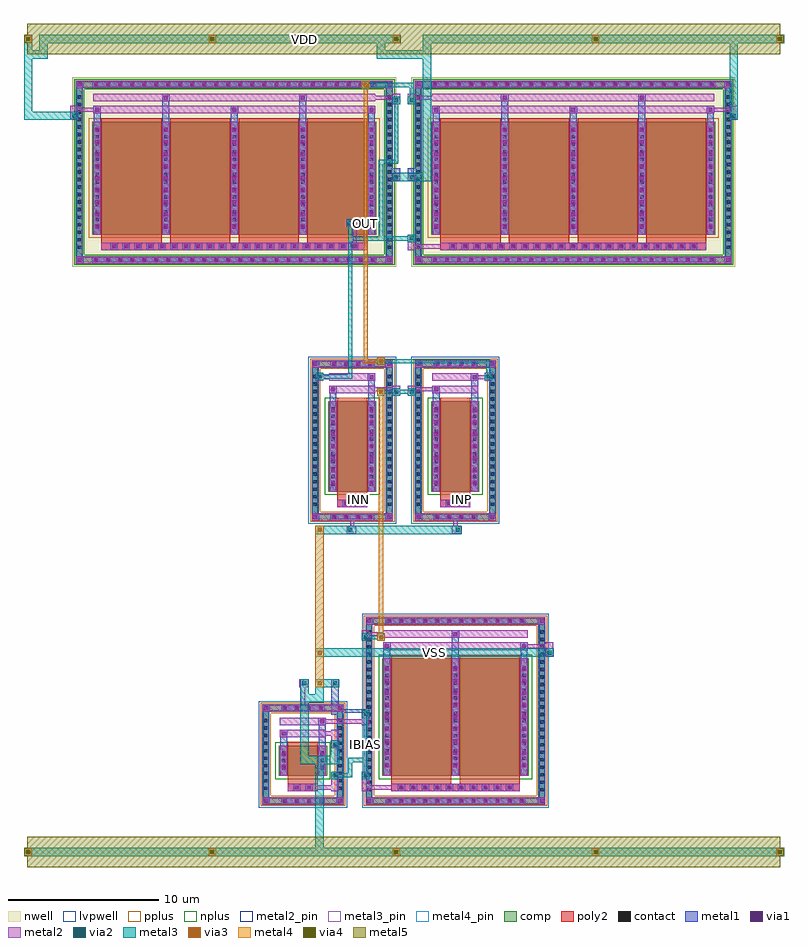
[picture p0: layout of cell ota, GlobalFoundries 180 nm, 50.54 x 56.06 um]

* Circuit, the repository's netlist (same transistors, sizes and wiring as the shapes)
* ox-alpha OTA -- 5T NMOS-input OTA, PMOS mirror load, IBIAS-driven tail
* topology: differential pair XM1/XM2, mirror load XM3/XM4,
* tail XMTAIL mirrored from external IBIAS via diode XMBIAS
.lib "{PDK_LIB}" typical
.subckt ota VDD VSS INP INN OUT IBIAS
XMBIAS IBIAS IBIAS VSS VSS nfet_03v3 W=2.0u L=2.0u nf=1
XMTAIL tail IBIAS VSS VSS nfet_03v3 W=15.6u L=4.0u nf=2
XM1 n1 INN tail VSS nfet_03v3 W=6.0u L=2.0u nf=1
XM2 OUT INP tail VSS nfet_03v3 W=6.0u L=2.0u nf=1
XM3 n1 n1 VDD VDD pfet_03v3 W=30.0u L=4.0u nf=4
XM4 OUT n1 VDD VDD pfet_03v3 W=30.0u L=4.0u nf=4
.ends

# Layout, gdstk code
import gdstk
lib = gdstk.Library(unit=1e-6, precision=1e-09)
def R(c, l, rs):  # rectangles x0, y0, x1, y1
    for r in rs: c.add(gdstk.rectangle(r[:2], r[2:], *l))
def A(c, l, x, y, w, h, nx, ny, dx, dy):  # array of equal rectangles
    R(c, l, [(x+i*dx, y+j*dy, x+i*dx+w, y+j*dy+h) for i in range(nx) for j in range(ny)])
def P(c, l, *ps):  # polygons
    for p in ps: c.add(gdstk.Polygon(p, *l))
nwell = (21, 0)
comp = (22, 0)
poly2 = (30, 0)
pplus = (31, 0)
nplus = (32, 0)
contact = (33, 0)
metal1 = (34, 0)
via1 = (35, 0)
metal2 = (36, 0)
metal2_pin = (36, 10)
via2 = (38, 0)
via3 = (40, 0)
via4 = (41, 0)
metal3 = (42, 0)
metal3_pin = (42, 10)
metal4 = (46, 0)
metal4_pin = (46, 10)
metal5 = (81, 0)
lvpwell = (204, 0)

ota = lib.new_cell('ota')
R(ota, nwell, [(-22.04,35.98,-0.5,48.57), (0.5,35.98,22.04,48.57)])
A(ota, comp, -8.09, 0.28, 0.36, 0.36, 4, 2, 0.8, 6.17)
A(ota, comp, -1.15, 0.28, 0.36, 0.36, 12, 2, 0.8, 11.97)
A(ota, comp, -2.5, 1.015, 0.36, 0.36, 1, 22, 0, 0.5)
A(ota, comp, 9, 1.015, 0.36, 0.36, 1, 22, 0, 0.5)
A(ota, comp, -9.36, 1.115, 0.36, 0.36, 1, 10, 0, 0.5)
A(ota, comp, -4.42, 1.115, 0.36, 0.36, 1, 10, 0, 0.5)
A(ota, comp, -4.81, 19.17, 0.36, 0.36, 4, 2, 0.8, 10.17)
A(ota, comp, 2.05, 19.17, 0.36, 0.36, 4, 2, 0.8, 10.17)
A(ota, comp, -6.08, 20.005, 0.36, 0.36, 1, 18, 0, 0.5)
A(ota, comp, -1.14, 20.005, 0.36, 0.36, 1, 18, 0, 0.5)
A(ota, comp, 0.78, 20.005, 0.36, 0.36, 1, 18, 0, 0.5)
A(ota, comp, 5.72, 20.005, 0.36, 0.36, 1, 18, 0, 0.5)
A(ota, comp, -20.65, 36.26, 0.36, 0.36, 24, 2, 0.8, 11.67)
A(ota, comp, 1.89, 36.26, 0.36, 0.36, 24, 2, 0.8, 11.67)
A(ota, comp, -21.76, 37.095, 0.36, 0.36, 1, 21, 0, 0.5)
A(ota, comp, -1.14, 37.095, 0.36, 0.36, 1, 21, 0, 0.5)
A(ota, comp, 0.78, 37.095, 0.36, 0.36, 1, 21, 0, 0.5)
A(ota, comp, 21.4, 37.095, 0.36, 0.36, 1, 21, 0, 0.5)
R(ota, comp, [(-8.09,0.28,-5.33,0.64), (-1.15,0.28,8.01,0.64), (-2.5,1.015,-2.14,11.875), (9,1.015,9.36,11.875), (-9.36,1.115,-9,5.975), (-4.42,1.115,-4.06,5.975), (-8.31,2.14,-5.11,4.14), (-1.45,2.14,8.31,9.94), (-8.09,6.45,-5.33,6.81), (-1.15,12.25,8.01,12.61), (-4.81,19.17,-2.05,19.53), (2.05,19.17,4.81,19.53), (-6.08,20.005,-5.72,28.865), (-1.14,20.005,-0.78,28.865), (0.78,20.005,1.14,28.865), (5.72,20.005,6.08,28.865), (-5.03,21.03,-1.83,27.03), (1.83,21.03,5.03,27.03), (-4.81,29.34,-2.05,29.7), (2.05,29.34,4.81,29.7), (-20.65,36.26,-1.89,36.62), (1.89,36.26,20.65,36.62), (-21.76,37.095,-21.4,47.455), (-1.14,37.095,-0.78,47.455), (0.78,37.095,1.14,47.455), (21.4,37.095,21.76,47.455), (-20.71,38.12,-1.83,45.62), (1.83,38.12,20.71,45.62), (-20.65,47.93,-1.89,48.29), (1.89,47.93,20.65,48.29)])
P(ota, comp, [(-4.06,6.81),(-9.36,6.81),(-9.36,0.64),(-9,0.64),(-9,6.45),(-4.42,6.45),(-4.42,0.64),(-9,0.64),(-9.36,0.64),(-9.36,0.28),(-4.06,0.28)],
  [(21.76,48.29),(0.78,48.29),(0.78,36.62),(1.14,36.62),(1.14,47.93),(21.4,47.93),(21.4,36.62),(1.14,36.62),(0.78,36.62),(0.78,36.26),(21.76,36.26)],
  [(-0.78,48.29),(-21.76,48.29),(-21.76,36.62),(-21.4,36.62),(-21.4,47.93),(-1.14,47.93),(-1.14,36.62),(-21.4,36.62),(-21.76,36.62),(-21.76,36.26),(-0.78,36.26)],
  [(6.08,29.7),(0.78,29.7),(0.78,19.53),(1.14,19.53),(1.14,29.34),(5.72,29.34),(5.72,19.53),(1.14,19.53),(0.78,19.53),(0.78,19.17),(6.08,19.17)],
  [(-0.78,29.7),(-6.08,29.7),(-6.08,19.53),(-5.72,19.53),(-5.72,29.34),(-1.14,29.34),(-1.14,19.53),(-5.72,19.53),(-6.08,19.53),(-6.08,19.17),(-0.78,19.17)],
  [(9.36,12.61),(-2.5,12.61),(-2.5,0.64),(-2.14,0.64),(-2.14,12.25),(9,12.25),(9,0.64),(-2.14,0.64),(-2.5,0.64),(-2.5,0.28),(9.36,0.28)])
A(ota, poly2, -0.35, 1.17, 0.36, 0.36, 10, 1, 0.8, 0)
A(ota, poly2, -19.45, 37.15, 0.36, 0.36, 21, 1, 0.8, 0)
A(ota, poly2, 3.09, 37.15, 0.36, 0.36, 21, 1, 0.8, 0)
A(ota, poly2, -20.11, 37.58, 4, 0.3, 4, 1, 4.56, 0)
A(ota, poly2, 2.43, 37.58, 4, 0.3, 4, 1, 4.56, 0)
A(ota, poly2, -20.11, 37.88, 4, 7.98, 4, 1, 4.56, 0)
A(ota, poly2, 2.43, 37.88, 4, 7.98, 4, 1, 4.56, 0)
R(ota, poly2, [(-7.71,1.1,-5.71,1.6), (-0.85,1.1,7.71,1.6), (-7.29,1.17,-6.93,1.53), (-6.49,1.17,-6.13,1.53), (-7.71,1.6,-5.71,1.9), (-0.85,1.6,3.15,1.9), (3.71,1.6,7.71,1.9), (-7.71,1.9,-5.71,4.38), (-0.85,1.9,3.15,10.18), (3.71,1.9,7.71,10.18), (-4.43,19.99,-2.43,20.49), (2.43,19.99,4.43,20.49), (-4.01,20.06,-3.65,20.42), (-3.21,20.06,-2.85,20.42), (2.85,20.06,3.21,20.42), (3.65,20.06,4.01,20.42), (-4.43,20.49,-2.43,20.79), (2.43,20.49,4.43,20.79), (-4.43,20.79,-2.43,27.27), (2.43,20.79,4.43,27.27), (-20.11,37.08,-2.43,37.58), (2.43,37.08,20.11,37.58)])
R(ota, pplus, [(-20.94,37.89,-1.6,45.85), (1.6,37.89,20.94,45.85)])
P(ota, pplus, [(-3.9,6.97),(-9.52,6.97),(-9.52,0.8),(-8.84,0.8),(-8.84,6.29),(-4.58,6.29),(-4.58,0.8),(-8.84,0.8),(-9.52,0.8),(-9.52,0.12),(-3.9,0.12)],
  [(6.24,29.86),(0.62,29.86),(0.62,19.69),(1.3,19.69),(1.3,29.18),(5.56,29.18),(5.56,19.69),(1.3,19.69),(0.62,19.69),(0.62,19.01),(6.24,19.01)],
  [(-0.62,29.86),(-6.24,29.86),(-6.24,19.69),(-5.56,19.69),(-5.56,29.18),(-1.3,29.18),(-1.3,19.69),(-5.56,19.69),(-6.24,19.69),(-6.24,19.01),(-0.62,19.01)],
  [(9.52,12.77),(-2.66,12.77),(-2.66,0.8),(-1.98,0.8),(-1.98,12.09),(8.84,12.09),(8.84,0.8),(-1.98,0.8),(-2.66,0.8),(-2.66,0.12),(9.52,0.12)])
R(ota, nplus, [(-8.54,1.91,-4.88,4.37), (-1.68,1.91,8.54,10.17), (-5.26,20.8,-1.6,27.26), (1.6,20.8,5.26,27.26)])
P(ota, nplus, [(21.92,48.45),(0.62,48.45),(0.62,36.78),(1.3,36.78),(1.3,47.77),(21.24,47.77),(21.24,36.78),(1.3,36.78),(0.62,36.78),(0.62,36.1),(21.92,36.1)],
  [(-0.62,48.45),(-21.92,48.45),(-21.92,36.78),(-21.24,36.78),(-21.24,47.77),(-1.3,47.77),(-1.3,36.78),(-21.24,36.78),(-21.92,36.78),(-21.92,36.1),(-0.62,36.1)])
A(ota, contact, -8.02, 0.35, 0.22, 0.22, 4, 2, 0.8, 6.17)
A(ota, contact, -1.08, 0.35, 0.22, 0.22, 12, 2, 0.8, 11.97)
A(ota, contact, -2.43, 1.085, 0.22, 0.22, 1, 22, 0, 0.5)
A(ota, contact, 9.07, 1.085, 0.22, 0.22, 1, 22, 0, 0.5)
A(ota, contact, -9.29, 1.185, 0.22, 0.22, 1, 10, 0, 0.5)
A(ota, contact, -4.35, 1.185, 0.22, 0.22, 1, 10, 0, 0.5)
A(ota, contact, -0.28, 1.24, 0.22, 0.22, 10, 1, 0.8, 0)
A(ota, contact, -8.1, 2.53, 0.22, 0.22, 1, 3, 0, 0.5)
A(ota, contact, -5.54, 2.53, 0.22, 0.22, 1, 3, 0, 0.5)
A(ota, contact, -1.24, 2.68, 0.22, 0.22, 3, 14, 4.56, 0.5)
A(ota, contact, -4.74, 19.24, 0.22, 0.22, 4, 2, 0.8, 10.17)
A(ota, contact, 2.12, 19.24, 0.22, 0.22, 4, 2, 0.8, 10.17)
A(ota, contact, -6.01, 20.075, 0.22, 0.22, 1, 18, 0, 0.5)
A(ota, contact, -1.07, 20.075, 0.22, 0.22, 1, 18, 0, 0.5)
A(ota, contact, 0.85, 20.075, 0.22, 0.22, 1, 18, 0, 0.5)
A(ota, contact, 5.79, 20.075, 0.22, 0.22, 1, 18, 0, 0.5)
A(ota, contact, -4.82, 21.42, 0.22, 0.22, 1, 11, 0, 0.5)
A(ota, contact, -2.26, 21.42, 0.22, 0.22, 1, 11, 0, 0.5)
A(ota, contact, 2.04, 21.42, 0.22, 0.22, 1, 11, 0, 0.5)
A(ota, contact, 4.6, 21.42, 0.22, 0.22, 1, 11, 0, 0.5)
A(ota, contact, -20.58, 36.33, 0.22, 0.22, 24, 2, 0.8, 11.67)
A(ota, contact, 1.96, 36.33, 0.22, 0.22, 24, 2, 0.8, 11.67)
A(ota, contact, -21.69, 37.165, 0.22, 0.22, 1, 21, 0, 0.5)
A(ota, contact, -1.07, 37.165, 0.22, 0.22, 1, 21, 0, 0.5)
A(ota, contact, 0.85, 37.165, 0.22, 0.22, 1, 21, 0, 0.5)
A(ota, contact, 21.47, 37.165, 0.22, 0.22, 1, 21, 0, 0.5)
A(ota, contact, -19.38, 37.22, 0.22, 0.22, 21, 1, 0.8, 0)
A(ota, contact, 3.16, 37.22, 0.22, 0.22, 21, 1, 0.8, 0)
A(ota, contact, -20.5, 38.51, 0.22, 0.22, 5, 14, 4.56, 0.5)
A(ota, contact, 2.04, 38.51, 0.22, 0.22, 5, 14, 4.56, 0.5)
R(ota, contact, [(-7.22,1.24,-7,1.46), (-6.42,1.24,-6.2,1.46), (-3.94,20.13,-3.72,20.35), (-3.14,20.13,-2.92,20.35), (2.92,20.13,3.14,20.35), (3.72,20.13,3.94,20.35)])
A(ota, metal1, -8.16, 0.21, 0.5, 0.5, 4, 2, 0.8, 6.17)
A(ota, metal1, -1.22, 0.21, 0.5, 0.5, 12, 2, 0.8, 11.97)
A(ota, metal1, -2.55, 0.965, 0.46, 0.46, 1, 22, 0, 0.5)
A(ota, metal1, 8.95, 0.965, 0.46, 0.46, 1, 22, 0, 0.5)
A(ota, metal1, -9.41, 1.065, 0.46, 0.46, 1, 10, 0, 0.5)
A(ota, metal1, -4.47, 1.065, 0.46, 0.46, 1, 10, 0, 0.5)
A(ota, metal1, -0.42, 1.1, 0.5, 0.5, 10, 1, 0.8, 0)
A(ota, metal1, -1.36, 2.14, 0.46, 7.8, 3, 1, 4.56, 0)
A(ota, metal1, -8.22, 2.41, 0.46, 0.46, 1, 3, 0, 0.5)
A(ota, metal1, -5.66, 2.41, 0.46, 0.46, 1, 3, 0, 0.5)
A(ota, metal1, -1.36, 2.56, 0.46, 0.46, 3, 14, 4.56, 0.5)
A(ota, metal1, -1.38, 2.59, 0.5, 0.5, 3, 9, 4.56, 0.8)
A(ota, metal1, -1.38, 2.59, 0.5, 6.9, 3, 1, 4.56, 0)
A(ota, metal1, -4.88, 19.1, 0.5, 0.5, 4, 2, 0.8, 10.17)
A(ota, metal1, 1.98, 19.1, 0.5, 0.5, 4, 2, 0.8, 10.17)
A(ota, metal1, -6.13, 19.955, 0.46, 0.46, 1, 18, 0, 0.5)
A(ota, metal1, -1.19, 19.955, 0.46, 0.46, 1, 18, 0, 0.5)
A(ota, metal1, 0.73, 19.955, 0.46, 0.46, 1, 18, 0, 0.5)
A(ota, metal1, 5.67, 19.955, 0.46, 0.46, 1, 18, 0, 0.5)
A(ota, metal1, -4.94, 21.3, 0.46, 0.46, 1, 11, 0, 0.5)
A(ota, metal1, -2.38, 21.3, 0.46, 0.46, 1, 11, 0, 0.5)
A(ota, metal1, 1.92, 21.3, 0.46, 0.46, 1, 11, 0, 0.5)
A(ota, metal1, 4.48, 21.3, 0.46, 0.46, 1, 11, 0, 0.5)
A(ota, metal1, -4.96, 21.38, 0.5, 0.5, 1, 7, 0, 0.8)
A(ota, metal1, -2.4, 21.38, 0.5, 0.5, 1, 7, 0, 0.8)
A(ota, metal1, 1.9, 21.38, 0.5, 0.5, 1, 7, 0, 0.8)
A(ota, metal1, 4.46, 21.38, 0.5, 0.5, 1, 7, 0, 0.8)
A(ota, metal1, -20.72, 36.19, 0.5, 0.5, 24, 2, 0.8, 11.67)
A(ota, metal1, 1.82, 36.19, 0.5, 0.5, 24, 2, 0.8, 11.67)
A(ota, metal1, -21.81, 37.045, 0.46, 0.46, 1, 21, 0, 0.5)
A(ota, metal1, -1.19, 37.045, 0.46, 0.46, 1, 21, 0, 0.5)
A(ota, metal1, 0.73, 37.045, 0.46, 0.46, 1, 21, 0, 0.5)
A(ota, metal1, 21.35, 37.045, 0.46, 0.46, 1, 21, 0, 0.5)
A(ota, metal1, -19.52, 37.08, 0.5, 0.5, 21, 1, 0.8, 0)
A(ota, metal1, 3.02, 37.08, 0.5, 0.5, 21, 1, 0.8, 0)
A(ota, metal1, -20.62, 38.12, 0.46, 7.5, 5, 1, 4.56, 0)
A(ota, metal1, 1.92, 38.12, 0.46, 7.5, 5, 1, 4.56, 0)
A(ota, metal1, -20.62, 38.39, 0.46, 0.46, 5, 14, 4.56, 0.5)
A(ota, metal1, 1.92, 38.39, 0.46, 0.46, 5, 14, 4.56, 0.5)
A(ota, metal1, -20.64, 38.42, 0.5, 0.5, 5, 9, 4.56, 0.8)
A(ota, metal1, -20.64, 38.42, 0.5, 6.9, 5, 1, 4.56, 0)
A(ota, metal1, 1.9, 38.42, 0.5, 0.5, 5, 9, 4.56, 0.8)
A(ota, metal1, 1.9, 38.42, 0.5, 6.9, 5, 1, 4.56, 0)
A(ota, metal1, -20.62, 45.62, 0.46, 1.05, 3, 1, 9.12, 0)
A(ota, metal1, 1.92, 45.62, 0.46, 1.05, 3, 1, 9.12, 0)
A(ota, metal1, -20.64, 46.17, 0.5, 0.5, 3, 1, 9.12, 0)
A(ota, metal1, 1.9, 46.17, 0.5, 0.5, 3, 1, 9.12, 0)
R(ota, metal1, [(-9.41,0.21,-8.91,0.71), (-9.41,0.21,-8.91,0.71), (-9.41,0.21,-8.95,0.64), (-8.16,0.21,-5.26,0.71), (-4.51,0.21,-4.01,0.71), (-4.51,0.21,-4.01,0.71), (-4.47,0.21,-4.01,0.64), (-2.55,0.21,-2.05,0.71), (-2.55,0.21,-2.05,0.71), (-2.55,0.21,-2.09,0.64), (-1.22,0.21,8.08,0.71), (8.91,0.21,9.41,0.71), (8.91,0.21,9.41,0.71), (8.95,0.21,9.41,0.64), (-9.41,0.64,-8.95,6.45), (-4.47,0.64,-4.01,6.45), (-2.55,0.64,-2.09,12.25), (8.95,0.64,9.41,12.25), (-7.36,1.1,-6.86,1.6), (-6.56,1.1,-6.06,1.6), (-8.22,2.14,-7.76,4.14), (-5.66,2.14,-5.2,4.14), (-8.24,2.49,-7.74,2.99), (-8.24,2.49,-7.74,3.79), (-5.68,2.49,-5.18,2.99), (-5.68,2.49,-5.18,3.79), (-8.24,3.29,-7.74,3.79), (-5.68,3.29,-5.18,3.79), (-8.22,4.14,-7.76,5.19), (-5.66,4.14,-5.2,5.99), (-8.24,4.69,-7.74,5.19), (-5.68,5.49,-5.18,5.99), (-4.47,6.025,-4.01,6.325), (-4.47,6.025,-4.33,6.19), (-4.83,6.19,-4.33,8.53), (-4.695,6.325,-2.435,6.555), (-9.41,6.38,-8.91,6.88), (-9.41,6.38,-8.91,6.88), (-8.16,6.38,-5.26,6.88), (-4.51,6.38,-4.01,6.88), (-4.51,6.38,-4.01,6.88), (-9.41,6.45,-8.95,6.88), (-4.47,6.45,-4.01,6.88), (-4.83,8.03,-4.33,8.53), (-1.36,9.94,-0.9,10.99), (3.2,9.94,3.66,11.79), (7.76,9.94,8.22,10.99), (-1.38,10.49,-0.88,10.99), (7.74,10.49,8.24,10.99), (3.18,11.29,3.68,11.79), (-2.55,12.18,-2.05,12.68), (-2.55,12.18,-2.05,12.68), (-1.22,12.18,8.08,12.68), (8.91,12.18,9.41,12.68), (8.91,12.18,9.41,12.68), (-2.55,12.25,-2.09,12.68), (8.95,12.25,9.41,12.68), (-6.13,19.1,-5.63,19.6), (-6.13,19.1,-5.63,19.6), (-6.13,19.1,-5.67,19.53), (-4.88,19.1,-1.98,19.6), (-1.23,19.1,-0.73,19.6), (-1.23,19.1,-0.73,19.6), (-1.19,19.1,-0.73,19.53), (0.73,19.1,1.23,19.6), (0.73,19.1,1.23,19.6), (0.73,19.1,1.19,19.53), (1.98,19.1,4.88,19.6), (5.63,19.1,6.13,19.6), (5.63,19.1,6.13,19.6), (5.67,19.1,6.13,19.53), (-6.13,19.53,-5.67,29.34), (-1.19,19.53,-0.73,29.34), (0.73,19.53,1.19,29.34), (5.67,19.53,6.13,29.34), (-4.08,19.99,-3.58,20.49), (-3.28,19.99,-2.78,20.49), (2.78,19.99,3.28,20.49), (3.58,19.99,4.08,20.49), (-4.94,21.03,-4.48,27.03), (-2.38,21.03,-1.92,27.03), (1.92,21.03,2.38,27.03), (4.48,21.03,4.94,27.03), (-4.96,21.38,-4.46,26.68), (-2.4,21.38,-1.9,26.68), (1.9,21.38,2.4,26.68), (4.46,21.38,4.96,26.68), (-4.94,27.03,-4.48,28.08), (-2.38,27.03,-1.92,28.88), (1.92,27.03,2.38,28.08), (4.48,27.03,4.94,28.88), (-4.96,27.58,-4.46,28.08), (1.9,27.58,2.4,28.08), (-2.4,28.38,-1.9,28.88), (4.46,28.38,4.96,28.88), (-6.13,29.27,-5.63,29.77), (-6.13,29.27,-5.63,29.77), (-4.88,29.27,-1.98,29.77), (-1.23,29.27,-0.73,29.77), (-1.23,29.27,-0.73,29.77), (0.73,29.27,1.23,29.77), (0.73,29.27,1.23,29.77), (1.98,29.27,4.88,29.77), (5.63,29.27,6.13,29.77), (5.63,29.27,6.13,29.77), (-6.13,29.34,-5.67,29.77), (-1.19,29.34,-0.73,29.77), (0.73,29.34,1.19,29.77), (5.67,29.34,6.13,29.77), (-21.81,36.19,-21.31,36.69), (-21.81,36.19,-21.31,36.69), (-21.81,36.19,-21.35,36.62), (-20.72,36.19,-1.82,36.69), (-1.23,36.19,-0.73,36.69), (-1.23,36.19,-0.73,36.69), (-1.19,36.19,-0.73,36.62), (0.73,36.19,1.23,36.69), (0.73,36.19,1.23,36.69), (0.73,36.19,1.19,36.62), (1.82,36.19,20.72,36.69), (21.31,36.19,21.81,36.69), (21.31,36.19,21.81,36.69), (21.35,36.19,21.81,36.62), (-21.81,36.62,-21.35,47.93), (-1.19,36.62,-0.73,47.93), (0.73,36.62,1.19,47.93), (21.35,36.62,21.81,47.93), (-0.75,41.505,-0.73,41.69), (0.73,41.505,0.77,41.69), (-0.75,41.69,-0.25,42.53), (-0.75,41.69,-0.25,42.19), (0.27,41.69,0.77,42.53), (0.27,41.69,0.77,42.19), (-0.845,42.005,-0.73,42.165), (0.73,42.005,0.845,42.165), (-0.845,42.165,-0.385,42.395), (0.405,42.165,0.845,42.395), (-0.845,42.395,-0.73,42.545), (0.73,42.395,0.845,42.545), (-0.75,42.53,-0.73,42.545), (0.73,42.53,0.77,42.545), (-16.06,45.62,-15.6,47.47), (-6.94,45.62,-6.48,47.47), (6.48,45.62,6.94,47.47), (15.6,45.62,16.06,47.47), (-16.08,46.97,-15.58,47.47), (-6.96,46.97,-6.46,47.47), (6.46,46.97,6.96,47.47), (15.58,46.97,16.08,47.47), (-21.81,47.86,-21.31,48.36), (-21.81,47.86,-21.31,48.36), (-20.72,47.86,-1.82,48.36), (-1.23,47.86,-0.73,48.36), (-1.23,47.86,-0.73,48.36), (0.73,47.86,1.23,48.36), (0.73,47.86,1.23,48.36), (1.82,47.86,20.72,48.36), (21.31,47.86,21.81,48.36), (21.31,47.86,21.81,48.36), (-21.81,47.93,-21.35,48.36), (-1.19,47.93,-0.73,48.36), (0.73,47.93,1.19,48.36), (21.35,47.93,21.81,48.36)])
A(ota, via1, -8.04, 0.33, 0.26, 0.26, 4, 2, 0.8, 6.17)
A(ota, via1, -1.1, 0.33, 0.26, 0.26, 12, 2, 0.8, 11.97)
A(ota, via1, -0.3, 1.22, 0.26, 0.26, 10, 1, 0.8, 0)
A(ota, via1, -1.26, 2.71, 0.26, 0.26, 3, 9, 4.56, 0.8)
A(ota, via1, -4.76, 19.22, 0.26, 0.26, 4, 2, 0.8, 10.17)
A(ota, via1, 2.1, 19.22, 0.26, 0.26, 4, 2, 0.8, 10.17)
A(ota, via1, -4.84, 21.5, 0.26, 0.26, 1, 7, 0, 0.8)
A(ota, via1, -2.28, 21.5, 0.26, 0.26, 1, 7, 0, 0.8)
A(ota, via1, 2.02, 21.5, 0.26, 0.26, 1, 7, 0, 0.8)
A(ota, via1, 4.58, 21.5, 0.26, 0.26, 1, 7, 0, 0.8)
A(ota, via1, -20.6, 36.31, 0.26, 0.26, 24, 2, 0.8, 11.67)
A(ota, via1, 1.94, 36.31, 0.26, 0.26, 24, 2, 0.8, 11.67)
A(ota, via1, -19.4, 37.2, 0.26, 0.26, 21, 1, 0.8, 0)
A(ota, via1, 3.14, 37.2, 0.26, 0.26, 21, 1, 0.8, 0)
A(ota, via1, -20.52, 38.54, 0.26, 0.26, 5, 9, 4.56, 0.8)
A(ota, via1, 2.02, 38.54, 0.26, 0.26, 5, 9, 4.56, 0.8)
A(ota, via1, -20.52, 46.29, 0.26, 0.26, 3, 1, 9.12, 0)
A(ota, via1, 2.02, 46.29, 0.26, 0.26, 3, 1, 9.12, 0)
R(ota, via1, [(-9.29,0.33,-9.03,0.59), (-4.39,0.33,-4.13,0.59), (-2.43,0.33,-2.17,0.59), (9.03,0.33,9.29,0.59), (-7.24,1.22,-6.98,1.48), (-6.44,1.22,-6.18,1.48), (-8.12,2.61,-7.86,2.87), (-5.56,2.61,-5.3,2.87), (-8.12,3.41,-7.86,3.67), (-5.56,3.41,-5.3,3.67), (-8.12,4.81,-7.86,5.07), (-5.56,5.61,-5.3,5.87), (-9.29,6.5,-9.03,6.76), (-4.39,6.5,-4.13,6.76), (-4.71,8.15,-4.45,8.41), (-1.26,10.61,-1,10.87), (7.86,10.61,8.12,10.87), (3.3,11.41,3.56,11.67), (-2.43,12.3,-2.17,12.56), (9.03,12.3,9.29,12.56), (-6.01,19.22,-5.75,19.48), (-1.11,19.22,-0.85,19.48), (0.85,19.22,1.11,19.48), (5.75,19.22,6.01,19.48), (-3.96,20.11,-3.7,20.37), (-3.16,20.11,-2.9,20.37), (2.9,20.11,3.16,20.37), (3.7,20.11,3.96,20.37), (-4.84,27.7,-4.58,27.96), (2.02,27.7,2.28,27.96), (-2.28,28.5,-2.02,28.76), (4.58,28.5,4.84,28.76), (-6.01,29.39,-5.75,29.65), (-1.11,29.39,-0.85,29.65), (0.85,29.39,1.11,29.65), (5.75,29.39,6.01,29.65), (-21.69,36.31,-21.43,36.57), (-1.11,36.31,-0.85,36.57), (0.85,36.31,1.11,36.57), (21.43,36.31,21.69,36.57), (-0.63,41.81,-0.37,42.07), (0.39,41.81,0.65,42.07), (-15.96,47.09,-15.7,47.35), (-6.84,47.09,-6.58,47.35), (6.58,47.09,6.84,47.35), (15.7,47.09,15.96,47.35), (-21.69,47.98,-21.43,48.24), (-1.11,47.98,-0.85,48.24), (0.85,47.98,1.11,48.24), (21.43,47.98,21.69,48.24)])
A(ota, metal2, -8.16, 0.21, 0.5, 0.5, 4, 2, 0.8, 6.17)
A(ota, metal2, -1.22, 0.21, 0.5, 0.5, 12, 2, 0.8, 11.97)
A(ota, metal2, -0.42, 1.1, 0.5, 0.5, 10, 1, 0.8, 0)
A(ota, metal2, -1.38, 2.14, 0.5, 7.8, 3, 1, 4.56, 0)
A(ota, metal2, -1.38, 2.59, 0.5, 0.5, 3, 9, 4.56, 0.8)
A(ota, metal2, -4.88, 19.1, 0.5, 0.5, 4, 2, 0.8, 10.17)
A(ota, metal2, 1.98, 19.1, 0.5, 0.5, 4, 2, 0.8, 10.17)
A(ota, metal2, -4.96, 21.38, 0.5, 0.5, 1, 7, 0, 0.8)
A(ota, metal2, -2.4, 21.38, 0.5, 0.5, 1, 7, 0, 0.8)
A(ota, metal2, 1.9, 21.38, 0.5, 0.5, 1, 7, 0, 0.8)
A(ota, metal2, 4.46, 21.38, 0.5, 0.5, 1, 7, 0, 0.8)
A(ota, metal2, -20.72, 36.19, 0.5, 0.5, 24, 2, 0.8, 11.67)
A(ota, metal2, 1.82, 36.19, 0.5, 0.5, 24, 2, 0.8, 11.67)
A(ota, metal2, -19.52, 37.08, 0.5, 0.5, 21, 1, 0.8, 0)
A(ota, metal2, 3.02, 37.08, 0.5, 0.5, 21, 1, 0.8, 0)
A(ota, metal2, -20.64, 38.12, 0.5, 7.5, 5, 1, 4.56, 0)
A(ota, metal2, 1.9, 38.12, 0.5, 7.5, 5, 1, 4.56, 0)
A(ota, metal2, -20.64, 38.42, 0.5, 0.5, 5, 9, 4.56, 0.8)
A(ota, metal2, 1.9, 38.42, 0.5, 0.5, 5, 9, 4.56, 0.8)
A(ota, metal2, -20.64, 46.17, 0.5, 0.5, 3, 1, 9.12, 0)
A(ota, metal2, 1.9, 46.17, 0.5, 0.5, 3, 1, 9.12, 0)
R(ota, metal2, [(-9.41,0.21,-8.91,0.71), (-9.41,0.21,-8.91,0.71), (-9.41,0.21,-9,0.71), (-9,0.21,-4.42,0.71), (-4.51,0.21,-4.01,0.71), (-4.51,0.21,-4.01,0.71), (-4.42,0.21,-4.01,0.71), (-2.55,0.21,-2.05,0.71), (-2.55,0.21,-2.05,0.71), (-2.55,0.21,-2.14,0.71), (-2.14,0.21,9,0.71), (8.91,0.21,9.41,0.71), (8.91,0.21,9.41,0.71), (9,0.21,9.41,0.71), (-7.71,1.1,-5.71,1.6), (-7.36,1.1,-6.86,1.6), (-6.56,1.1,-6.06,1.6), (-4.83,1.1,-4.33,2.41), (-2.79,1.1,-2.29,2.41), (-0.85,1.1,7.71,1.6), (-6.06,1.21,-5.85,1.49), (-5.85,1.21,-4.44,1.49), (-2.68,1.21,-0.71,1.49), (-0.71,1.21,-0.42,1.49), (-4.83,1.91,-4.33,2.41), (-2.79,1.91,-2.29,2.41), (-8.24,2.14,-7.74,4.14), (-5.68,2.14,-5.18,4.14), (-8.24,2.49,-7.74,2.99), (-5.68,2.49,-5.18,2.99), (-8.24,3.29,-7.74,3.79), (-5.68,3.29,-5.18,3.79), (-4.83,3.95,-4.33,5.19), (-4.83,3.95,-4.33,4.45), (-8.24,4.69,-7.74,5.19), (-8.24,4.69,-5.18,5.19), (-5.32,4.8,-4.44,5.08), (-8.24,5.49,-5.18,5.99), (-5.68,5.49,-5.18,5.99), (-2.79,5.49,-2.29,6.49), (-5.32,5.6,-2.4,5.88), (-2.79,5.99,-2.29,6.49), (-9.41,6.38,-8.91,6.88), (-9.41,6.38,-8.91,6.88), (-9.41,6.38,-9,6.88), (-9,6.38,-4.42,6.88), (-4.51,6.38,-4.01,6.88), (-4.51,6.38,-4.01,6.88), (-4.42,6.38,-4.01,6.88), (-6.86,6.74,-6.85,6.88), (-6.85,6.74,-6.57,8.42), (-6.57,6.74,-6.56,6.88), (-6.96,8.03,-6.37,8.53), (-6.87,8.03,-6.37,8.53), (-4.83,8.03,-4.33,8.53), (9.45,10.07,9.95,10.99), (9.45,10.07,9.95,10.57), (-1.38,10.49,-0.88,10.99), (-1.38,10.49,8.24,10.99), (7.74,10.49,8.24,10.99), (8.1,10.6,9.84,10.88), (-2.79,11.09,-2.29,11.79), (-2.79,11.09,-2.29,11.59), (-1.38,11.29,8.24,11.79), (3.18,11.29,3.68,11.79), (-2.68,11.4,-1.24,11.68), (-2.55,12.18,-2.05,12.68), (-2.55,12.18,-2.05,12.68), (-2.55,12.18,-2.14,12.68), (-2.14,12.18,9,12.68), (8.91,12.18,9.41,12.68), (8.91,12.18,9.41,12.68), (9,12.18,9.41,12.68), (-3.81,18.23,-3.18,18.73), (-3.81,18.23,-3.31,18.73), (3.18,18.23,3.83,18.73), (3.33,18.23,3.83,18.73), (-3.57,18.34,-3.29,19.24), (3.29,18.34,3.57,19.24), (-6.13,19.1,-5.63,19.6), (-6.13,19.1,-5.63,19.6), (-6.13,19.1,-5.72,19.6), (-5.72,19.1,-1.14,19.6), (-3.58,19.1,-3.57,19.24), (-3.29,19.1,-3.28,19.24), (-1.23,19.1,-0.73,19.6), (-1.23,19.1,-0.73,19.6), (-1.14,19.1,-0.73,19.6), (0.73,19.1,1.23,19.6), (0.73,19.1,1.23,19.6), (0.73,19.1,1.14,19.6), (1.14,19.1,5.72,19.6), (3.28,19.1,3.29,19.24), (3.57,19.1,3.58,19.24), (5.63,19.1,6.13,19.6), (5.63,19.1,6.13,19.6), (5.72,19.1,6.13,19.6), (-4.43,19.99,-2.43,20.49), (-4.08,19.99,-3.58,20.49), (-3.28,19.99,-2.78,20.49), (2.43,19.99,4.43,20.49), (2.78,19.99,3.28,20.49), (3.58,19.99,4.08,20.49), (-4.96,21.03,-4.46,27.03), (-2.4,21.03,-1.9,27.03), (1.9,21.03,2.4,27.03), (4.46,21.03,4.96,27.03), (-0.75,27.41,-0.25,28.08), (-0.75,27.41,-0.25,27.91), (0.27,27.41,0.77,28.08), (0.27,27.41,0.77,27.91), (-4.96,27.58,-4.46,28.08), (-4.96,27.58,-1.9,28.08), (1.9,27.58,2.4,28.08), (1.9,27.58,4.96,28.08), (-2.04,27.69,-0.36,27.97), (0.38,27.69,2.04,27.97), (-5.85,28.38,-5.35,28.93), (-4.96,28.38,-1.9,28.88), (-2.4,28.38,-1.9,28.88), (1.9,28.38,4.96,28.88), (4.46,28.38,4.96,28.88), (5.37,28.38,5.87,28.93), (-5.85,28.43,-5.35,28.93), (5.37,28.43,5.87,28.93), (-5.74,28.49,-4.82,28.77), (4.82,28.49,5.76,28.77), (-6.13,29.27,-5.63,29.77), (-6.13,29.27,-5.63,29.77), (-6.13,29.27,-5.72,29.77), (-5.72,29.27,-1.14,29.77), (-1.23,29.27,-0.73,29.77), (-1.23,29.27,-0.73,29.77), (-1.14,29.27,-0.73,29.77), (0.73,29.27,1.23,29.77), (0.73,29.27,1.23,29.77), (0.73,29.27,1.14,29.77), (1.14,29.27,5.72,29.77), (5.63,29.27,6.13,29.77), (5.63,29.27,6.13,29.77), (5.72,29.27,6.13,29.77), (-21.81,36.19,-21.31,36.69), (-21.81,36.19,-21.31,36.69), (-21.81,36.19,-21.4,36.69), (-21.4,36.19,-1.14,36.69), (-1.23,36.19,-0.73,36.69), (-1.23,36.19,-0.73,36.69), (-1.14,36.19,-0.73,36.69), (0.73,36.19,1.23,36.69), (0.73,36.19,1.23,36.69), (0.73,36.19,1.14,36.69), (1.14,36.19,21.4,36.69), (21.31,36.19,21.81,36.69), (21.31,36.19,21.81,36.69), (21.4,36.19,21.81,36.69), (-20.11,37.08,-2.43,37.58), (0.27,37.08,0.77,38.11), (2.43,37.08,20.11,37.58), (0.38,37.19,2.57,37.47), (-3.41,37.44,-3.13,39.02), (0.27,37.61,0.77,38.11), (-3.81,38.63,-3.02,39.13), (-3.81,38.63,-3.31,39.13), (-0.75,41.69,-0.25,42.19), (0.27,41.69,0.77,42.19), (-22.17,45.77,-21.67,46.67), (-22.17,45.77,-21.67,46.27), (21.69,45.77,22.19,46.67), (21.69,45.77,22.19,46.27), (-20.64,46.17,-1.9,46.67), (1.9,46.17,20.64,46.67), (-22.06,46.28,-20.5,46.56), (20.5,46.28,22.08,46.56), (-0.75,46.79,-0.25,47.47), (-0.75,46.79,-0.25,47.29), (0.27,46.79,0.77,47.47), (0.27,46.79,0.77,47.29), (-20.64,46.97,-1.9,47.47), (-16.08,46.97,-15.58,47.47), (-6.96,46.97,-6.46,47.47), (1.9,46.97,20.64,47.47), (6.46,46.97,6.96,47.47), (15.58,46.97,16.08,47.47), (-2.04,47.08,-0.36,47.36), (0.38,47.08,2.04,47.36), (-21.81,47.86,-21.31,48.36), (-21.81,47.86,-21.31,48.36), (-21.81,47.86,-21.4,48.36), (-21.4,47.86,-1.14,48.36), (-1.23,47.86,-0.73,48.36), (-1.23,47.86,-0.73,48.36), (-1.14,47.86,-0.73,48.36), (0.73,47.86,1.23,48.36), (0.73,47.86,1.23,48.36), (0.73,47.86,1.14,48.36), (1.14,47.86,21.4,48.36), (21.31,47.86,21.81,48.36), (21.31,47.86,21.81,48.36), (21.4,47.86,21.81,48.36)])
R(ota, metal2_pin, [(-3.17,20.35,-2.89,20.63), (3.69,20.35,3.97,20.63)])
R(ota, via2, [(-4.71,2.03,-4.45,2.29), (-2.67,2.03,-2.41,2.29), (-4.71,4.07,-4.45,4.33), (-2.67,6.11,-2.41,6.37), (-6.75,8.15,-6.49,8.41), (-4.71,8.15,-4.45,8.41), (9.57,10.19,9.83,10.45), (-2.67,11.21,-2.41,11.47), (-3.69,18.35,-3.43,18.61), (3.45,18.35,3.71,18.61), (-0.63,27.53,-0.37,27.79), (0.39,27.53,0.65,27.79), (-5.73,28.55,-5.47,28.81), (5.49,28.55,5.75,28.81), (0.39,37.73,0.65,37.99), (-3.69,38.75,-3.43,39.01), (-0.63,41.81,-0.37,42.07), (0.39,41.81,0.65,42.07), (-22.05,45.89,-21.79,46.15), (21.81,45.89,22.07,46.15), (-0.63,46.91,-0.37,47.17), (0.39,46.91,0.65,47.17)])
A(ota, via3, -25.11, -3.07, 0.26, 0.26, 3, 2, 12.24, 54.06)
R(ota, via3, [(12.63,-3.07,12.89,-2.81), (24.87,-3.07,25.13,-2.81), (-5.73,8.15,-5.47,8.41), (-5.73,10.19,-5.47,10.45), (-1.65,11.21,-1.39,11.47), (-5.73,18.35,-5.47,18.61), (-1.65,27.53,-1.39,27.79), (-1.65,29.57,-1.39,29.83), (-2.67,47.93,-2.41,48.19), (12.63,50.99,12.89,51.25), (24.87,50.99,25.13,51.25)])
A(ota, via4, -25.11, -3.07, 0.26, 0.26, 3, 2, 12.24, 54.06)
R(ota, via4, [(12.63,-3.07,12.89,-2.81), (24.87,-3.07,25.13,-2.81), (12.63,50.99,12.89,51.25), (24.87,50.99,25.13,51.25)])
A(ota, metal3, -25.23, -3.19, 0.5, 0.5, 3, 2, 12.24, 54.06)
A(ota, metal3, -6.87, 8.03, 0.5, 0.5, 3, 1, 1.02, 0)
A(ota, metal3, -1.77, 27.41, 0.5, 0.5, 3, 1, 1.02, 0)
R(ota, metal3, [(-25.26,-3.22,-12.46,-2.66), (-13.02,-3.22,-0.22,-2.66), (-5.88,-3.22,-5.32,3.46), (-0.78,-3.22,13.04,-2.66), (12.48,-3.22,25.28,-2.66), (12.51,-3.19,13.01,-2.69), (24.75,-3.19,25.25,-2.69), (-4.83,1.91,-4.33,2.41), (-2.79,1.91,-2.29,2.41), (-4.72,2.02,-3.42,2.3), (-3.7,2.02,-3.42,3.32), (-2.68,2.02,-2.4,6.38), (-6.9,2.9,-5.32,3.46), (-6.9,2.9,-6.34,8.56), (-5.88,2.9,-4.3,3.46), (-4.86,2.9,-4.3,4.48), (-3.7,3.04,-2.4,3.32), (-4.83,3.95,-4.33,4.45), (-2.79,5.99,-2.29,6.49), (-6.9,6.98,-5.32,7.54), (-5.88,6.98,-5.32,8.56), (-5.88,8,-4.3,8.56), (-5.88,10.04,9.98,10.6), (-5.85,10.07,-5.35,10.57), (9.45,10.07,9.95,10.57), (-2.79,11.09,-2.29,11.59), (-1.77,11.09,-1.27,11.59), (-2.68,11.2,-1.38,11.48), (-5.88,18.2,-3.28,18.76), (-3.84,18.2,3.86,18.76), (-5.85,18.23,-5.35,18.73), (-3.81,18.23,-3.31,18.73), (3.33,18.23,3.83,18.73), (-1.66,27.52,-0.36,27.8), (-0.64,27.52,0.66,27.8), (-5.85,28.43,-5.35,28.93), (5.37,28.43,5.87,28.93), (-5.74,28.54,-3.42,28.82), (-3.7,28.54,-3.42,39.02), (5.48,28.54,5.76,29.84), (-1.77,29.45,-1.27,29.95), (-1.66,29.56,5.76,29.84), (0.27,37.61,0.77,38.11), (-3.7,37.72,0.66,38), (-1.66,37.72,-1.38,43.1), (-3.81,38.63,-3.31,39.13), (-0.78,41.66,1.82,42.22), (1.26,41.66,1.82,50.38), (-0.75,41.69,-0.25,42.19), (0.27,41.69,0.77,42.19), (-1.66,42.82,-0.36,43.1), (-0.64,42.82,-0.36,47.18), (-25.26,45.74,-24.7,51.4), (-25.26,45.74,-21.64,46.3), (21.66,45.74,22.22,51.4), (-22.17,45.77,-21.67,46.27), (21.69,45.77,22.19,46.27), (-0.75,46.79,-0.25,47.29), (0.27,46.79,0.77,47.29), (0.38,46.9,0.66,48.2), (-2.79,47.81,-2.29,48.31), (-2.68,47.92,0.66,48.2), (-25.26,49.82,-23.68,50.38), (-24.24,49.82,-23.68,51.4), (-1.8,49.82,-1.24,51.4), (-1.8,49.82,1.82,50.38), (1.26,49.82,1.82,51.4), (-24.24,50.84,-12.46,51.4), (-13.02,50.84,-0.22,51.4), (1.26,50.84,13.04,51.4), (12.48,50.84,25.28,51.4), (12.51,50.87,13.01,51.37), (24.75,50.87,25.25,51.37)])
R(ota, metal3_pin, [(-2.68,4.06,-2.4,4.34), (1.77,10.04,2.33,10.6), (-6.9,50.84,-6.34,51.4)])
A(ota, metal4, -25.23, -3.19, 0.5, 0.5, 3, 2, 12.24, 54.06)
R(ota, metal4, [(12.51,-3.19,13.01,-2.69), (24.75,-3.19,25.25,-2.69), (-5.88,8,-5.32,18.76), (-5.85,8.03,-5.35,8.53), (-5.85,10.07,-5.35,10.57), (-1.77,11.09,-1.27,11.59), (-1.66,11.2,-1.38,27.8), (-5.85,18.23,-5.35,18.73), (-1.77,27.41,-1.27,27.91), (-1.77,29.45,-1.27,29.95), (-2.68,29.56,-2.4,48.2), (-2.68,29.56,-1.38,29.84), (-2.79,47.81,-2.29,48.31), (12.51,50.87,13.01,51.37), (24.75,50.87,25.25,51.37)])
R(ota, metal4_pin, [(-2.68,38.74,-2.4,39.02)])
A(ota, metal5, -25.23, -3.19, 0.5, 0.5, 3, 2, 12.24, 54.06)
R(ota, metal5, [(-25.04,-3.94,25.04,-1.94), (12.51,-3.19,13.01,-2.69), (24.75,-3.19,25.25,-2.69), (-25.04,50.12,25.04,52.12), (12.51,50.87,13.01,51.37), (24.75,50.87,25.25,51.37)])
R(ota, lvpwell, [(-9.64,0,-3.78,7.09), (-2.78,0,9.64,12.89), (-6.36,18.89,-0.5,29.98), (0.5,18.89,6.36,29.98)])
ota.add(gdstk.Label('IBIAS', (-2.54,4.2), layer=42, texttype=10))
ota.add(gdstk.Label('OUT', (-2.54,38.88), layer=46, texttype=10))
ota.add(gdstk.Label('INN', (-3.03,20.49), layer=36, texttype=10))
ota.add(gdstk.Label('INP', (3.83,20.49), layer=36, texttype=10))
ota.add(gdstk.Label('VSS', (2.05,10.32), layer=42, texttype=10))
ota.add(gdstk.Label('VDD', (-6.62,51.12), layer=42, texttype=10))

lib.write_gds('ota.gds')
